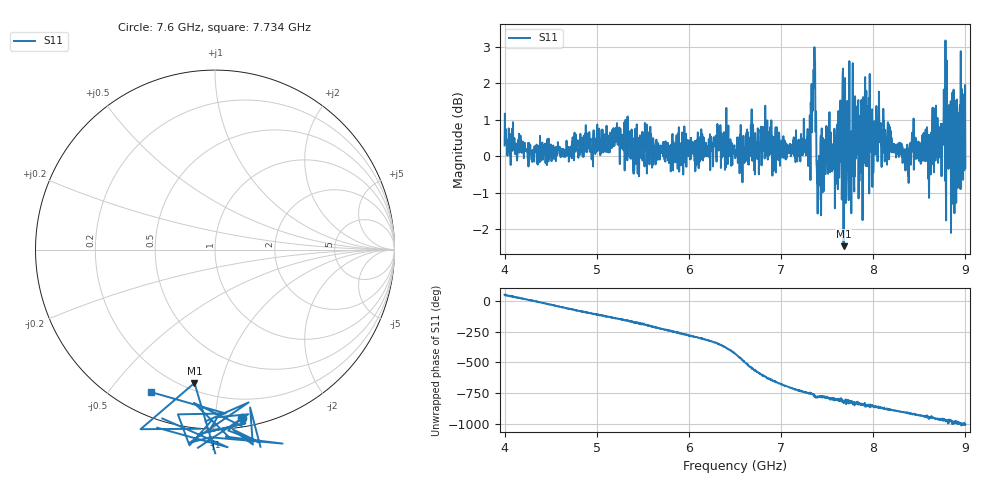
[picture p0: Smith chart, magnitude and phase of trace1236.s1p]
! Created with skrf 1.8.0 (http://scikit-rf.org).
# Hz S RI R 50.0
!freq ReS11 ImS11
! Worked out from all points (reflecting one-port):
!   1601 points, 4 GHz to 9 GHz, reference 50 ohm
!   lowest |S11| = -2.5 dB at 7.678 GHz (marker M1), VSWR 7.06, Z = 12.1 - j41.4 ohm
!   phase of S11 starts at 51 deg and turns -1056 deg over the sweep
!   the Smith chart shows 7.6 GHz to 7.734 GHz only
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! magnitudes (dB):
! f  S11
! 4 GHz  0.3
! 4.625 GHz  0.0
! 5.25 GHz  -0.2
! 5.875 GHz  0.0
! 6.5 GHz  0.1
! 6.806 GHz  0.5
! 7.125 GHz  0.3
! 7.294 GHz  -0.3
! 7.347 GHz  1.9
! 7.362 GHz  3.0
! 7.409 GHz  -0.6
! 7.516 GHz  0.6
! 7.575 GHz  0.1
! 7.678 GHz  -2.5
! 7.75 GHz  0.6
! 7.875 GHz  0.6
! 7.922 GHz  0.3
! 7.981 GHz  0.1
! 8.056 GHz  0.5
! 8.375 GHz  -0.2
! 8.441 GHz  -0.4
! 8.612 GHz  0.0
! 8.656 GHz  1.3
! 8.728 GHz  0.4
! 8.775 GHz  1.7
! 8.869 GHz  -0.4
! 8.972 GHz  0.7
! 9 GHz  -0.3
